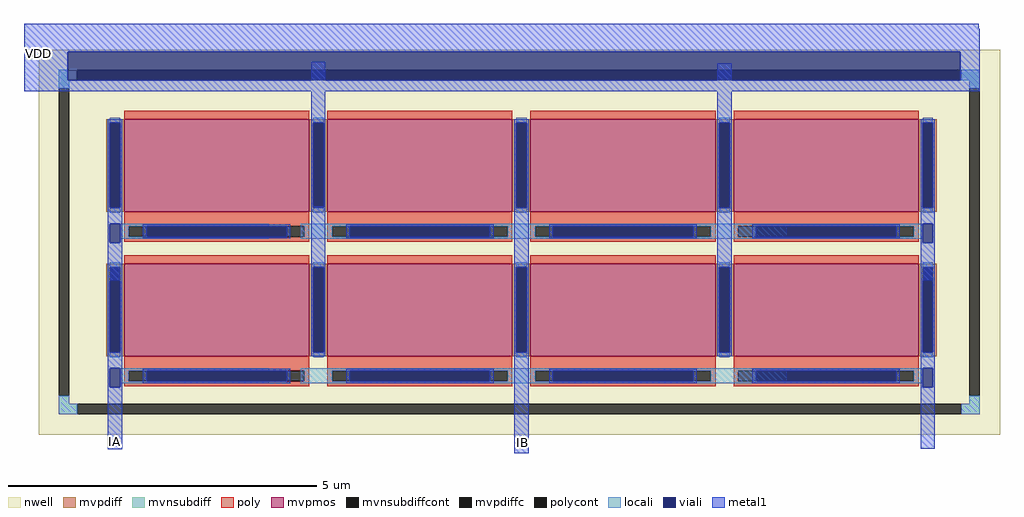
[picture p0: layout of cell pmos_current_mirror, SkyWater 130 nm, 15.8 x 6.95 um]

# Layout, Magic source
magic
tech sky130A
magscale 1 2
<< nwell >>
rect -841 -155 2273 1093
<< mvnsubdiff >>
rect -775 993 -715 1027
rect 2147 993 2207 1027
rect -775 967 -741 993
rect -775 -55 -741 -29
rect 2173 967 2207 993
rect 2173 -55 2207 -29
rect -775 -89 -715 -55
rect 2147 -89 2207 -55
<< mvnsubdiffcont >>
rect -715 993 2147 1027
rect -775 -29 -741 967
rect 2173 -29 2207 967
rect -715 -89 2147 -55
<< locali >>
rect -775 994 -746 1027
rect -775 993 -715 994
rect 2147 993 2207 1027
rect -775 967 -741 993
rect -775 -55 -741 -29
rect 2173 967 2207 993
rect 2173 -55 2207 -29
rect -775 -89 -715 -55
rect 2147 -89 2207 -55
<< viali >>
rect -746 1027 2144 1086
rect -746 994 -715 1027
rect -715 994 2144 1027
<< metal1 >>
rect -888 1160 2204 1176
rect -888 1086 2208 1160
rect -888 994 -746 1086
rect 2144 994 2208 1086
rect -888 958 2208 994
rect -616 -202 -570 -12
rect 700 -214 746 -22
rect 2016 -200 2062 -44
use sky130_fd_pr__pfet_g5v0d10v5_8ZATBS  sky130_fd_pr__pfet_g5v0d10v5_8ZATBS_0
transform -1 0 -264 0 1 214
box -424 -336 424 252
use sky130_fd_pr__pfet_g5v0d10v5_8ZATBS  sky130_fd_pr__pfet_g5v0d10v5_8ZATBS_1
transform 1 0 1710 0 1 214
box -424 -336 424 252
use sky130_fd_pr__pfet_g5v0d10v5_8ZATBS  sky130_fd_pr__pfet_g5v0d10v5_8ZATBS_2
transform -1 0 -264 0 1 682
box -424 -336 424 252
use sky130_fd_pr__pfet_g5v0d10v5_8ZATBS  sky130_fd_pr__pfet_g5v0d10v5_8ZATBS_3
transform 1 0 1710 0 1 682
box -424 -336 424 252
use sky130_fd_pr__pfet_g5v0d10v5_ALBTBJ  sky130_fd_pr__pfet_g5v0d10v5_ALBTBJ_1
transform 1 0 723 0 1 214
box -753 -282 859 372
use sky130_fd_pr__pfet_g5v0d10v5_ALBTBJ  sky130_fd_pr__pfet_g5v0d10v5_ALBTBJ_2
transform 1 0 723 0 1 682
box -753 -282 859 372
<< labels >>
flabel metal1 -868 1022 -814 1136 0 FreeSans 1600 0 0 0 VDD
port 1 nsew
flabel metal1 710 -194 740 -168 0 FreeSans 1600 0 0 0 IB
port 4 nsew
flabel metal1 -610 -190 -580 -166 0 FreeSans 1600 0 0 0 IA
port 6 nsew
<< end >>

# cell sky130_fd_pr__pfet_g5v0d10v5_8ZATBS: kit device sky130_fd_pr__pfet_g5v0d10v5, w 1.5 l 3 m 1 nf 1 diffcov 100 polycov 100 guard 0 glc 1 grc 1 gtc 1 gbc 1 tbcov 100 rlcov 80 topc 0 botc 1 poverlap 0 doverlap 1 lmin 0.50 wmin 0.42 class mosfet compatible {sky130_fd_pr__pfet_01v8 sky130_fd_pr__pfet_01v8_lvt sky130_fd_pr__pfet_01v8_hvt sky130_fd_pr__pfet_g5v0d10v5} full_metal 1 viasrc 100 viadrn 100 viagate 80 viagb 0 viagr 0 viagl 0 viagt 0

# cell sky130_fd_pr__pfet_g5v0d10v5_ALBTBJ: kit device sky130_fd_pr__pfet_g5v0d10v5, w 1.5 l 3 m 1 nf 2 diffcov 100 polycov 100 guard 0 glc 1 grc 1 gtc 1 gbc 1 tbcov 100 rlcov 80 topc 0 botc 1 poverlap 0 doverlap 1 lmin 0.50 wmin 0.42 class mosfet compatible {sky130_fd_pr__pfet_01v8 sky130_fd_pr__pfet_01v8_lvt sky130_fd_pr__pfet_01v8_hvt sky130_fd_pr__pfet_g5v0d10v5} full_metal 1 viasrc 100 viadrn 100 viagate 80 viagb 0 viagr 0 viagl 0 viagt 0
